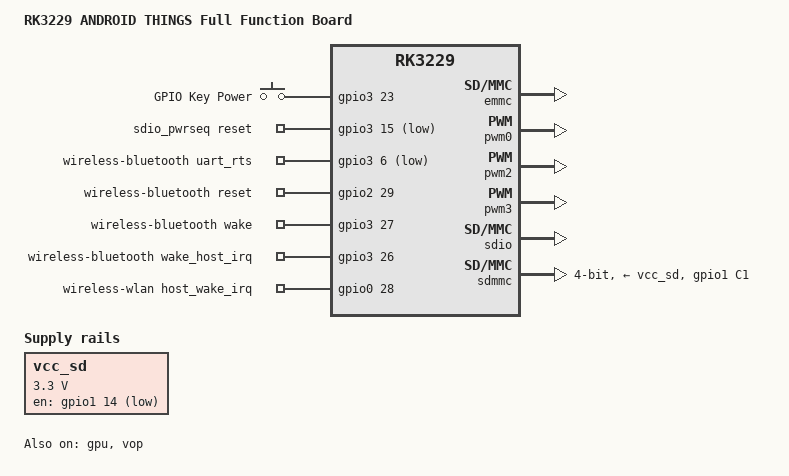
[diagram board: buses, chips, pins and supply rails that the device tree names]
/*
 * Copyright (c) 2018 Fuzhou Rockchip Electronics Co., Ltd
 *
 * SPDX-License-Identifier: (GPL-2.0+ OR MIT).
 */

/dts-v1/;

#include "rk3229-at-som.dtsi"
#include <dt-bindings/input/input.h>

/ {
	model = "RK3229 ANDROID THINGS Full Function Board";
	compatible = "rockchip,rk3229-at-3nod-func", "rockchip,rk3229";

	gpio_keys {
		compatible = "gpio-keys";
		#address-cells = <1>;
		#size-cells = <0>;
		autorepeat;

		pinctrl-names = "default";
		pinctrl-0 = <&pwr_key>;

		power_key {
			label = "GPIO Key Power";
			gpios = <&gpio3 23 GPIO_ACTIVE_HIGH>;
			linux,code = <116>;
			debounce-interval = <100>;
			wakeup-source;
		};
	};

	sdio_pwrseq: sdio-pwrseq {
		compatible = "mmc-pwrseq-simple";
		clocks = <&rk805 1>;
		clock-names = "ext_clock";
		pinctrl-names = "default";
		pinctrl-0 = <&wifi_enable_h>;

		/*
		 * On the module itself this is one of these (depending
		 * on the actual card populated):
		 * - SDIO_RESET_L_WL_REG_ON
		 * - PDN (power down when low)
		 */
		reset-gpios = <&gpio3 15 GPIO_ACTIVE_LOW>; /* GPIO3_B7 */
	};

	vcc_sd: vcc-sd {
		compatible = "regulator-fixed";
		gpio = <&gpio1 14 GPIO_ACTIVE_LOW>;
		pinctrl-names = "default";
		pinctrl-0 = <&vcc_sd_h>;
		regulator-name = "vcc_sd";
		regulator-min-microvolt = <3300000>;
		regulator-max-microvolt = <3300000>;
	};

	wireless-bluetooth {
		compatible = "bluetooth-platdata";
		clocks = <&rk805 1>;
		clock-names = "ext_clock";
		uart_rts_gpios = <&gpio3 6 GPIO_ACTIVE_LOW>;
		pinctrl-names = "default", "rts_gpio";
		pinctrl-0 = <&uart11_rts>;
		pinctrl-1 = <&uart11_rts_gpio>;
		BT,reset_gpio    = <&gpio2 29 GPIO_ACTIVE_HIGH>;
		BT,wake_gpio     = <&gpio3 27 GPIO_ACTIVE_HIGH>;
		BT,wake_host_irq = <&gpio3 26 GPIO_ACTIVE_HIGH>;
		status = "okay";
	};

	wireless-wlan {
		compatible = "wlan-platdata";
		rockchip,grf = <&grf>;
		wifi_chip_type = "ap6255";
		WIFI,host_wake_irq = <&gpio0 28 GPIO_ACTIVE_HIGH>;
		status = "okay";
	};
};

&emmc {
	/*
	 * enable emmc ddr mode, choose the
	 * according parameter base on the emmc
	 * io voltage.
	 */
	mmc-ddr-1_8v;
	status = "okay";
};

&gpu {
	status = "okay";
};

&nandc {
	status = "disabled";
};

&pinctrl {
	pinctrl-names = "default";
	pinctrl-0 = <&fixed_gpio>;

	keys {
		pwr_key: pwr-key {
			rockchip,pins = <3 RK_PC7 RK_FUNC_GPIO &pcfg_pull_down>;
		};
	};

	sdio-pwrseq {
		wifi_enable_h: wifi-enable-h {
			rockchip,pins = <3 RK_PB7 RK_FUNC_GPIO &pcfg_pull_none>;
		};
	};

	vcc-sd {
		vcc_sd_h: vcc-sd-h {
			rockchip,pins = <1 RK_PB6 RK_FUNC_GPIO &pcfg_pull_none>;
		};
	};

	sdmmc {
		sdmmc_cd: sdmmc-cd {
			rockchip,pins =
				<1 RK_PC1 1 &pcfg_pull_none_drv_12ma>;
		};
	};
};

&pwm0 {
	status = "okay";
};

&pwm2 {
	status = "okay";
};

&pwm3 {
	status = "okay";
	interrupts = <GIC_SPI 50 IRQ_TYPE_LEVEL_HIGH>;
	compatible = "rockchip,remotectl-pwm";
	remote_pwm_id = <3>;
	handle_cpu_id = <1>;
	remote_support_psci = <1>;

	ir_key1 {
		rockchip,usercode = <0x4040>;
		rockchip,key_table =
		<0xf2   KEY_REPLY>,
		<0xba   KEY_BACK>,
		<0xf4   KEY_UP>,
		<0xf1   KEY_DOWN>,
		<0xef   KEY_LEFT>,
		<0xee   KEY_RIGHT>,
		<0xbd   KEY_HOME>,
		<0xea   KEY_VOLUMEUP>,
		<0xe3   KEY_VOLUMEDOWN>,
		<0xe2   KEY_SEARCH>,
		<0xb2   KEY_POWER>,
		<0xbc   KEY_MUTE>,
		<0xec   KEY_MENU>,
		<0xbf   0x190>,
		<0xe0   0x191>,
		<0xe1   0x192>,
		<0xe9   183>,
		<0xe6   248>,
		<0xe8   185>,
		<0xe7   186>,
		<0xf0   388>,
		<0xbe   0x175>;
	};
};

&reboot_mode {
	/delete-property/ mode-bootloader;
};

&sdio {
	max-frequency = <150000000>;
	mmc-pwrseq = <&sdio_pwrseq>;
	num-slots = <1>;
	sd-uhs-sdr104;
	status = "okay";
};

&sdmmc {
	bus-width = <4>;
	cap-mmc-highspeed;
	cap-sd-highspeed;
	card-detect-delay = <200>;
	disable-wp;
	max-frequency = <50000000>;
	num-slots = <1>;
	no-sdio;
	no-mmc;
	vmmc-supply = <&vcc_sd>;
	pinctrl-names = "default";
	pinctrl-0 = <&sdmmc_clk &sdmmc_cmd &sdmmc_bus4 &sdmmc_cd>;
	status = "okay";
};

&vop {
	assigned-clocks = <&cru DCLK_VOP>;
	assigned-clock-parents = <&cru HDMIPHY>;
	status = "okay";
};

&vop_mmu {
	status = "okay";
};
